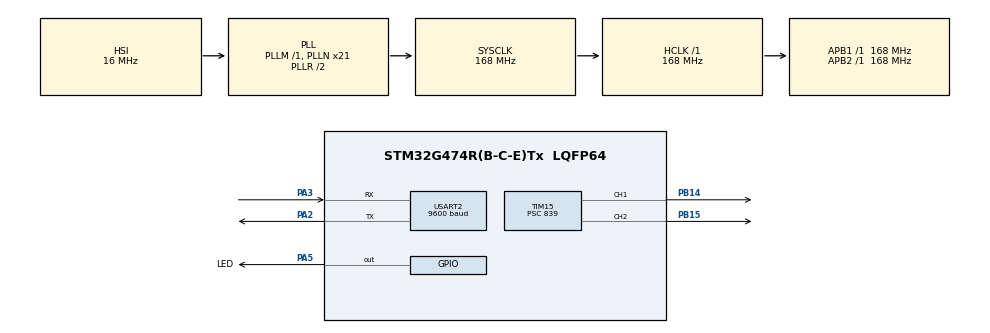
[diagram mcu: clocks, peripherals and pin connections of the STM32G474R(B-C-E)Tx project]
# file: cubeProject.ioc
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Mcu.Family=STM32G4
Mcu.Name=STM32G474R(B-C-E)Tx
Mcu.Package=LQFP64
NVIC.PriorityGroup=NVIC_PRIORITYGROUP_4
PA2.Mode=Asynchronous
PA2.Signal=USART2_TX
PA3.Mode=Asynchronous
PA3.Signal=USART2_RX
PA5.GPIO_Label=LED
PA5.Signal=GPIO_Output
PB14.Signal=S_TIM15_CH1
PB15.Signal=S_TIM15_CH2
PF0-OSC_IN.Mode=HSE-External-Oscillator
PF0-OSC_IN.Signal=RCC_OSC_IN
PF1-OSC_OUT.Mode=HSE-External-Oscillator
PF1-OSC_OUT.Signal=RCC_OSC_OUT
ProjectManager.HeapSize=0x200
ProjectManager.StackSize=0x400
ProjectManager.TargetToolchain=CMake
RCC.ADC12Freq_Value=168000000
RCC.ADC345Freq_Value=168000000
RCC.AHBFreq_Value=168000000
RCC.APB1Freq_Value=168000000
RCC.APB1TimFreq_Value=168000000
RCC.APB2Freq_Value=168000000
RCC.APB2TimFreq_Value=168000000
RCC.CortexFreq_Value=168000000
RCC.EXTERNAL_CLOCK_VALUE=12288000
RCC.HCLKFreq_Value=168000000
RCC.HSE_VALUE=16000000
RCC.HSI48_VALUE=48000000
RCC.HSI_VALUE=16000000
RCC.LSE_VALUE=32768
RCC.PLLN=21
RCC.PLLQ=RCC_PLLQ_DIV4
RCC.SYSCLKFreq_VALUE=168000000
RCC.SYSCLKSource=RCC_SYSCLKSOURCE_PLLCLK
RCC.USBFreq_Value=84000000
RCC.VCOOutputFreq_Value=336000000
SH.S_TIM15_CH1.0=TIM15_CH1,PWM Generation1 CH1
SH.S_TIM15_CH2.0=TIM15_CH2,PWM Generation2 CH2
TIM15.Channel-PWM\ Generation1\ CH1=TIM_CHANNEL_1
TIM15.Channel-PWM\ Generation2\ CH2=TIM_CHANNEL_2
TIM15.OCPolarity_1=TIM_OCPOLARITY_LOW
TIM15.OCPolarity_2=TIM_OCPOLARITY_LOW
TIM15.PeriodNoDither=999
TIM15.Prescaler=839
TIM15.PulseNoDither_1=500
TIM15.PulseNoDither_2=500
USART2.BaudRate=9600
USART2.VirtualMode-Asynchronous=VM_ASYNC
VP_SYS_VS_DBSignals.Mode=DisableDeadBatterySignals
VP_TIM15_VS_ClockSourceINT.Mode=Internal
board=custom

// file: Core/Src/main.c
/* USER CODE BEGIN Header */
/**
 * *****************************************************************************
 * @file           : main.c
 * @brief          : Main program body
 ******************************************************************************
 * @attention
 *
 * Copyright (c) 2026 STMicroelectronics.
 * All rights reserved.
 *
 * This software is licensed under terms that can be found in the LICENSE file
 * in the root directory of this software component.
 * If no LICENSE file comes with this software, it is provided AS-IS.
 *
 ******************************************************************************
 */
/* USER CODE END Header */
#include "main.h"
#include "tim.h"
#include "usart.h"
#include "gpio.h"

/* USER CODE BEGIN Includes */
#include <stdio.h>
/* USER CODE END Includes */

/* USER CODE BEGIN PV */
const uint16_t TICK_DELAY = 1000;
/* USER CODE END PV */

void SystemClock_Config(void);

/* USER CODE BEGIN 0 */
int _write(int fd, char* ptr, int len){
  HAL_StatusTypeDef halStatus;
  if(fd==1 || fd==2){
    halStatus = HAL_UART_Transmit(&huart2, (uint8_t *)ptr, len, 1000);
    if(halStatus == HAL_OK){
      return len;
    }
  }
  return -1;
}
/* USER CODE END 0 */

int main(void)
{

  /* MCU Configuration--------------------------------------------------------*/

  /* Reset of all peripherals, Initializes the Flash interface and the Systick. */
  HAL_Init();

  /* Configure the system clock */
  SystemClock_Config();

  /* Initialize all configured peripherals */
  MX_GPIO_Init();
  MX_USART2_UART_Init();
  MX_TIM15_Init();
  /* USER CODE BEGIN 2 */
  // HAL_TIM_Base_Start_IT(&htim15);
  printf("Startin...\n");
  HAL_TIM_PWM_Start(&htim15, TIM_CHANNEL_1);
  HAL_TIM_PWM_Start(&htim15, TIM_CHANNEL_2);
  /* USER CODE END 2 */

  /* Infinite loop */
  /* USER CODE BEGIN WHILE */
  uint16_t pwm_value = 0;
  int8_t pwm_change = 1;
  uint32_t now = 0, next_tick = TICK_DELAY, loop_cnt = 0, next_change = 0;
  while (1)
  {
    now = uwTick;

    if(now >= next_tick){
      printf("Tick %lu (loop = %lu)\n", now/1000, loop_cnt);
      next_tick = now + TICK_DELAY;
      loop_cnt = 0;
    }
    if(now >= next_change){
      __HAL_TIM_SET_COMPARE(&htim15, TIM_CHANNEL_1, pwm_value);
      __HAL_TIM_SET_COMPARE(&htim15, TIM_CHANNEL_2, 50-pwm_value);
      pwm_value += pwm_change;
      if(pwm_value <= 0 || pwm_value >= 50){
        pwm_change *= -1;
      }
      next_change = now + 10;

    }
    ++loop_cnt;
    /* USER CODE END WHILE */

  }
}

void SystemClock_Config(void)
{
  RCC_OscInitTypeDef RCC_OscInitStruct = {0};
  RCC_ClkInitTypeDef RCC_ClkInitStruct = {0};

  /** Configure the main internal regulator output voltage
  */
  HAL_PWREx_ControlVoltageScaling(PWR_REGULATOR_VOLTAGE_SCALE1_BOOST);

  /** Initializes the RCC Oscillators according to the specified parameters
  * in the RCC_OscInitTypeDef structure.
  */
  RCC_OscInitStruct.OscillatorType = RCC_OSCILLATORTYPE_HSI;
  RCC_OscInitStruct.HSIState = RCC_HSI_ON;
  RCC_OscInitStruct.HSICalibrationValue = RCC_HSICALIBRATION_DEFAULT;
  RCC_OscInitStruct.PLL.PLLState = RCC_PLL_ON;
  RCC_OscInitStruct.PLL.PLLSource = RCC_PLLSOURCE_HSI;
  RCC_OscInitStruct.PLL.PLLM = RCC_PLLM_DIV1;
  RCC_OscInitStruct.PLL.PLLN = 21;
  RCC_OscInitStruct.PLL.PLLP = RCC_PLLP_DIV2;
  RCC_OscInitStruct.PLL.PLLQ = RCC_PLLQ_DIV4;
  RCC_OscInitStruct.PLL.PLLR = RCC_PLLR_DIV2;
  if (HAL_RCC_OscConfig(&RCC_OscInitStruct) != HAL_OK)
  {
    Error_Handler();
  }

  /** Initializes the CPU, AHB and APB buses clocks
  */
  RCC_ClkInitStruct.ClockType = RCC_CLOCKTYPE_HCLK|RCC_CLOCKTYPE_SYSCLK
                              |RCC_CLOCKTYPE_PCLK1|RCC_CLOCKTYPE_PCLK2;
  RCC_ClkInitStruct.SYSCLKSource = RCC_SYSCLKSOURCE_PLLCLK;
  RCC_ClkInitStruct.AHBCLKDivider = RCC_SYSCLK_DIV1;
  RCC_ClkInitStruct.APB1CLKDivider = RCC_HCLK_DIV1;
  RCC_ClkInitStruct.APB2CLKDivider = RCC_HCLK_DIV1;

  if (HAL_RCC_ClockConfig(&RCC_ClkInitStruct, FLASH_LATENCY_4) != HAL_OK)
  {
    Error_Handler();
  }
}

void Error_Handler(void)
{
  __disable_irq();
  while (1)
  {
  }
}
#ifdef USE_FULL_ASSERT
/**
  * @brief  Reports the name of the source file and the source line number
  *         where the assert_param error has occurred.
  * @param  file: pointer to the source file name
  * @param  line: assert_param error line source number
  * @retval None
  */
void assert_failed(uint8_t *file, uint32_t line)
{
  /* USER CODE BEGIN 6 */
  /* User can add his own implementation to report the file name and line number,
   *     ex: printf("Wrong parameters value: file %s on line %d\r\n", file, line) */
  /* USER CODE END 6 */
}
#endif /* USE_FULL_ASSERT */
